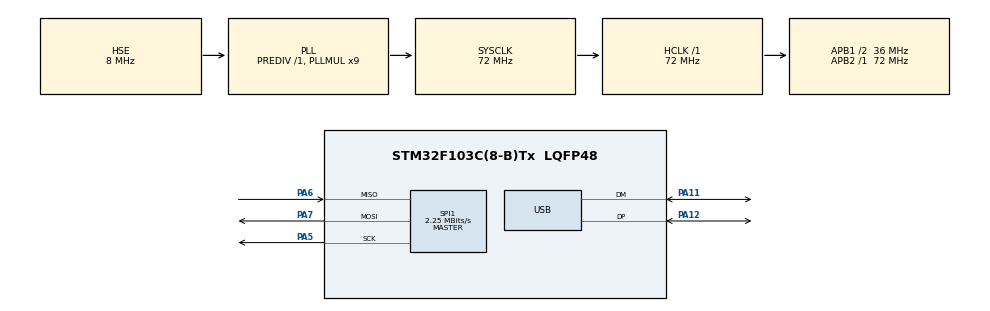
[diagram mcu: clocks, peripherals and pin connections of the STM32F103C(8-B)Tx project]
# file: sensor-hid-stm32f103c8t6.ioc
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Mcu.Family=STM32F1
Mcu.Name=STM32F103C(8-B)Tx
Mcu.Package=LQFP48
NVIC.PriorityGroup=NVIC_PRIORITYGROUP_4
NVIC.TIM2_IRQn=true\:0\:0\:false
NVIC.USB_LP_CAN1_RX0_IRQn=true\:0\:0\:false
PA11.Mode=Device
PA11.Signal=USB_DM
PA12.Mode=Device
PA12.Signal=USB_DP
PA13.Mode=Serial_Wire
PA13.Signal=SYS_JTMS-SWDIO
PA14.Mode=Serial_Wire
PA14.Signal=SYS_JTCK-SWCLK
PA5.Mode=Full_Duplex_Master
PA5.Signal=SPI1_SCK
PA6.Mode=Full_Duplex_Master
PA6.Signal=SPI1_MISO
PA7.Mode=Full_Duplex_Master
PA7.Signal=SPI1_MOSI
PD0-OSC_IN.Mode=HSE-External-Oscillator
PD0-OSC_IN.Signal=RCC_OSC_IN
PD1-OSC_OUT.Mode=HSE-External-Oscillator
PD1-OSC_OUT.Signal=RCC_OSC_OUT
ProjectManager.HeapSize=0x400
ProjectManager.StackSize=0x200
ProjectManager.TargetToolchain=SW4STM32
RCC.AHBFreq_Value=72000000
RCC.APB1CLKDivider=RCC_HCLK_DIV2
RCC.APB1Freq_Value=36000000
RCC.APB1TimFreq_Value=72000000
RCC.APB2Freq_Value=72000000
RCC.APB2TimFreq_Value=72000000
RCC.HCLKFreq_Value=72000000
RCC.HSIState=RCC_HSI_ON
RCC.PLLMUL=RCC_PLL_MUL9
RCC.SYSCLKFreq_VALUE=72000000
RCC.SYSCLKSource=RCC_SYSCLKSOURCE_PLLCLK
RCC.USBFreq_Value=48000000
RCC.USBPrescaler=RCC_USBPLLCLK_DIV1_5
SPI1.BaudRatePrescaler=SPI_BAUDRATEPRESCALER_32
SPI1.CalculateBaudRate=2.25 MBits/s
SPI1.Mode=SPI_MODE_MASTER
USB_DEVICE.MANUFACTURER_STRING=DeepImmersion
USB_DEVICE.PRODUCT_STRING_CDC_FS=STM32 iMocap Virtual ComPort
USB_DEVICE.USBD_HandleTypeDef=hUsbDeviceFS
USB_DEVICE.VirtualMode=Cdc
USB_DEVICE.VirtualModeFS=Cdc_FS
VP_CRC_VS_CRC.Mode=CRC_Activate
VP_TIM2_VS_ClockSourceINT.Mode=Internal
VP_USB_DEVICE_VS_USB_DEVICE_CDC_FS.Mode=CDC_FS
board=sensor-hid-stm32f103c8t6

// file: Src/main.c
/**
  ******************************************************************************
  * File Name          : main.c
  * Description        : Main program body
  ******************************************************************************
  *
  * COPYRIGHT(c) 2016 STMicroelectronics
  *
  * Redistribution and use in source and binary forms, with or without modification,
  * are permitted provided that the following conditions are met:
  *   1. Redistributions of source code must retain the above copyright notice,
  *      this list of conditions and the following disclaimer.
  *   2. Redistributions in binary form must reproduce the above copyright notice,
  *      this list of conditions and the following disclaimer in the documentation
  *      and/or other materials provided with the distribution.
  *   3. Neither the name of STMicroelectronics nor the names of its contributors
  *      may be used to endorse or promote products derived from this software
  *      without specific prior written permission.
  *
  * THIS SOFTWARE IS PROVIDED BY THE COPYRIGHT HOLDERS AND CONTRIBUTORS "AS IS"
  * AND ANY EXPRESS OR IMPLIED WARRANTIES, INCLUDING, BUT NOT LIMITED TO, THE
  * IMPLIED WARRANTIES OF MERCHANTABILITY AND FITNESS FOR A PARTICULAR PURPOSE ARE
  * DISCLAIMED. IN NO EVENT SHALL THE COPYRIGHT HOLDER OR CONTRIBUTORS BE LIABLE
  * FOR ANY DIRECT, INDIRECT, INCIDENTAL, SPECIAL, EXEMPLARY, OR CONSEQUENTIAL
  * DAMAGES (INCLUDING, BUT NOT LIMITED TO, PROCUREMENT OF SUBSTITUTE GOODS OR
  * SERVICES; LOSS OF USE, DATA, OR PROFITS; OR BUSINESS INTERRUPTION) HOWEVER
  * CAUSED AND ON ANY THEORY OF LIABILITY, WHETHER IN CONTRACT, STRICT LIABILITY,
  * OR TORT (INCLUDING NEGLIGENCE OR OTHERWISE) ARISING IN ANY WAY OUT OF THE USE
  * OF THIS SOFTWARE, EVEN IF ADVISED OF THE POSSIBILITY OF SUCH DAMAGE.
  *
  ******************************************************************************
  */
#include "stm32f1xx_hal.h"
#include "usb_device.h"

/* USER CODE BEGIN Includes */
#include <string.h>
#include "usbd_cdc_if.h"
#include "se8r01.h"
#include "common.h"
/* USER CODE END Includes */

CRC_HandleTypeDef hcrc;

SPI_HandleTypeDef hspi1;

TIM_HandleTypeDef htim2;

/* USER CODE BEGIN PV */
/* Private variables ---------------------------------------------------------*/

/* USER CODE END PV */

void SystemClock_Config(void);
static void MX_GPIO_Init(void);
static void MX_CRC_Init(void);
static void MX_TIM2_Init(void);
static void MX_SPI1_Init(void);

/* USER CODE BEGIN PFP */
/* Private function prototypes -----------------------------------------------*/

/* USER CODE END PFP */

/* USER CODE BEGIN 0 */
const char mode = 'r'; // 't'
/* USER CODE END 0 */

int main(void)
{

  /* MCU Configuration----------------------------------------------------------*/

  /* Reset of all peripherals, Initializes the Flash interface and the Systick. */
  HAL_Init();

  /* Configure the system clock */
  SystemClock_Config();

  /* Initialize all configured peripherals */
  MX_GPIO_Init();
  MX_CRC_Init();
  MX_TIM2_Init();
  //MX_USB_DEVICE_Init();
  MX_SPI1_Init();

  /* USER CODE BEGIN 2 */
  init_gpio_led();
  nrf24_setup_gpio();

  HAL_TIM_Base_Start(&htim2);

  // use identical bytes
  bool is_transmitter = (mode =='t');
  bool is_receiver = !is_transmitter;
  setup();

  const char * str_example = "Hello there!\0";
  char buf[100] = {0};

  /* USER CODE END 2 */

  /* Infinite loop */
  /* USER CODE BEGIN WHILE */
  while (1)
  {
      //CDC_Transmit_FS((uint8_t*)str_example, (uint16_t)strlen(str_example));

#if 1
        if(is_receiver){
            RXX();
        }
        else if(is_transmitter){
            TXX();
            HAL_Delay(50);
        }
#endif

      HAL_Delay(500);
  /* USER CODE END WHILE */

  }

}

/** System Clock Configuration
*/
void SystemClock_Config(void)
{

  RCC_OscInitTypeDef RCC_OscInitStruct;
  RCC_ClkInitTypeDef RCC_ClkInitStruct;
  RCC_PeriphCLKInitTypeDef PeriphClkInit;

  RCC_OscInitStruct.OscillatorType = RCC_OSCILLATORTYPE_HSE;
  RCC_OscInitStruct.HSEState = RCC_HSE_ON;
  RCC_OscInitStruct.HSEPredivValue = RCC_HSE_PREDIV_DIV1;
  RCC_OscInitStruct.PLL.PLLState = RCC_PLL_ON;
  RCC_OscInitStruct.PLL.PLLSource = RCC_PLLSOURCE_HSE;
  RCC_OscInitStruct.PLL.PLLMUL = RCC_PLL_MUL9;
  HAL_RCC_OscConfig(&RCC_OscInitStruct);

  RCC_ClkInitStruct.ClockType = RCC_CLOCKTYPE_HCLK|RCC_CLOCKTYPE_SYSCLK
                              |RCC_CLOCKTYPE_PCLK1|RCC_CLOCKTYPE_PCLK2;
  RCC_ClkInitStruct.SYSCLKSource = RCC_SYSCLKSOURCE_PLLCLK;
  RCC_ClkInitStruct.AHBCLKDivider = RCC_SYSCLK_DIV1;
  RCC_ClkInitStruct.APB1CLKDivider = RCC_HCLK_DIV2;
  RCC_ClkInitStruct.APB2CLKDivider = RCC_HCLK_DIV1;
  HAL_RCC_ClockConfig(&RCC_ClkInitStruct, FLASH_LATENCY_2);

  PeriphClkInit.PeriphClockSelection = RCC_PERIPHCLK_USB;
  PeriphClkInit.UsbClockSelection = RCC_USBPLLCLK_DIV1_5;
  HAL_RCCEx_PeriphCLKConfig(&PeriphClkInit);

  HAL_SYSTICK_Config(HAL_RCC_GetHCLKFreq()/1000);

  HAL_SYSTICK_CLKSourceConfig(SYSTICK_CLKSOURCE_HCLK);

  /* SysTick_IRQn interrupt configuration */
  HAL_NVIC_SetPriority(SysTick_IRQn, 0, 0);
}

/* CRC init function */
void MX_CRC_Init(void)
{

  hcrc.Instance = CRC;
  HAL_CRC_Init(&hcrc);

}

/* SPI1 init function */
void MX_SPI1_Init(void)
{

  hspi1.Instance = SPI1;
  hspi1.Init.Mode = SPI_MODE_MASTER;
  hspi1.Init.Direction = SPI_DIRECTION_2LINES;
  hspi1.Init.DataSize = SPI_DATASIZE_8BIT;
  hspi1.Init.CLKPolarity = SPI_POLARITY_LOW;
  hspi1.Init.CLKPhase = SPI_PHASE_1EDGE;
  hspi1.Init.NSS = SPI_NSS_SOFT;
  hspi1.Init.BaudRatePrescaler = SPI_BAUDRATEPRESCALER_32;
  hspi1.Init.FirstBit = SPI_FIRSTBIT_MSB;
  hspi1.Init.TIMode = SPI_TIMODE_DISABLED;
  hspi1.Init.CRCCalculation = SPI_CRCCALCULATION_DISABLED;
  hspi1.Init.CRCPolynomial = 10;
  HAL_SPI_Init(&hspi1);

}

/* TIM2 init function */
void MX_TIM2_Init(void)
{

  TIM_ClockConfigTypeDef sClockSourceConfig;
  TIM_MasterConfigTypeDef sMasterConfig;

  htim2.Instance = TIM2;
  htim2.Init.Prescaler = 0;
  htim2.Init.CounterMode = TIM_COUNTERMODE_UP;
  htim2.Init.Period = 0;
  htim2.Init.ClockDivision = TIM_CLOCKDIVISION_DIV1;
  HAL_TIM_Base_Init(&htim2);

  sClockSourceConfig.ClockSource = TIM_CLOCKSOURCE_INTERNAL;
  HAL_TIM_ConfigClockSource(&htim2, &sClockSourceConfig);

  sMasterConfig.MasterOutputTrigger = TIM_TRGO_RESET;
  sMasterConfig.MasterSlaveMode = TIM_MASTERSLAVEMODE_DISABLE;
  HAL_TIMEx_MasterConfigSynchronization(&htim2, &sMasterConfig);

}

/** Configure pins as
        * Analog
        * Input
        * Output
        * EVENT_OUT
        * EXTI
*/
void MX_GPIO_Init(void)
{

  /* GPIO Ports Clock Enable */
  __GPIOD_CLK_ENABLE();
  __GPIOA_CLK_ENABLE();
  __GPIOC_CLK_ENABLE();

}

/************************ (C) COPYRIGHT STMicroelectronics *****END OF FILE****/
